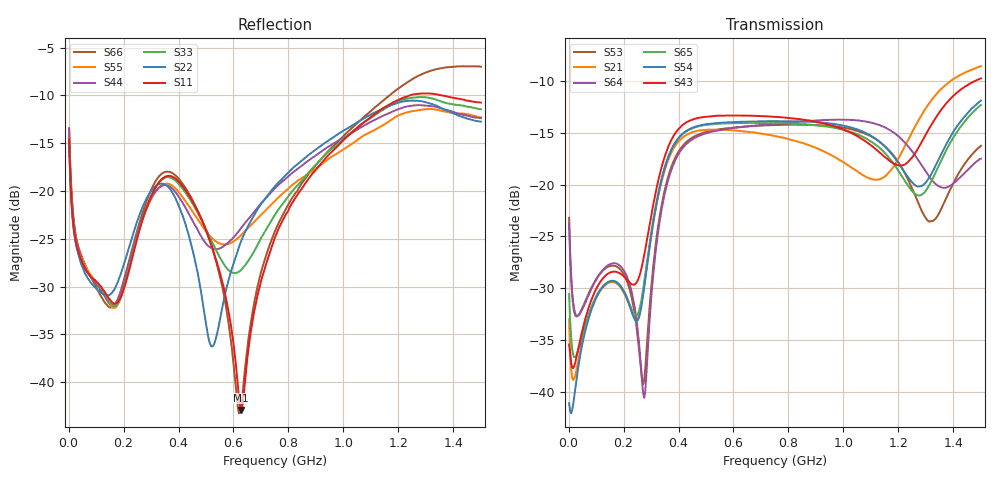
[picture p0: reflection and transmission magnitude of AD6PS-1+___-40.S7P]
! Mini-Circuits
! S7P DATA File Format
! Type: 6 Way 0 degree Power Splitter
! Model: AD6PS-1+
! PINOUT: SUMPORT=PORT7 , OUT1 PORT=PORT1 , OUT2 PORT=PORT2 , OUT3 PORT=PORT3 , OUT4 PORT=PORT4 , OUT5 PORT=PORT5 , OUT6 PORT=PORT6
! TEST CONDITIONS: INPUT POWER = 0 dBm @ Temperature = - 40 deg C
! 401 Frequency points
! All S Parameters are in dB deg format
# MHz S DB R 50
! FREQ  MAG(S11)PHS(S11)MAG(S12)PHS(S12)MAG(S13)PHS(S13)MAG(S14)PHS(S14)MAG(S15)PHS(S15)MAG(S16)PHS(S16)MAG(S17)PHS(S17)
!	MAG(S21)PHS(S21)MAG(S22)PHS(S22)MAG(S23)PHS(S23)MAG(S24)PHS(S24)MAG(S25)PHS(S25)MAG(S26)PHS(S26)MAG(S27)PHS(S27)
!	MAG(S31)PHS(S31)MAG(S32)PHS(S32)MAG(S33)PHS(S33)MAG(S34)PHS(S34)MAG(S35)PHS(S35)MAG(S36)PHS(S36)MAG(S37)PHS(S37)
!	MAG(S41)PHS(S41)MAG(S42)PHS(S42)MAG(S43)PHS(S43)MAG(S44)PHS(S44)MAG(S45)PHS(S45)MAG(S46)PHS(S46)MAG(S47)PHS(S47)
!	MAG(S51)PHS(S51)MAG(S52)PHS(S52)MAG(S53)PHS(S53)MAG(S54)PHS(S54)MAG(S55)PHS(S55)MAG(S56)PHS(S56)MAG(S57)PHS(S57)
!	MAG(S61)PHS(S61)MAG(S62)PHS(S62)MAG(S63)PHS(S63)MAG(S64)PHS(S64)MAG(S65)PHS(S65)MAG(S66)PHS(S66)MAG(S67)PHS(S67)
!	MAG(S71)PHS(S71)MAG(S72)PHS(S72)MAG(S73)PHS(S73)MAG(S74)PHS(S74)MAG(S75)PHS(S75)MAG(S76)PHS(S76)MAG(S77)PHS(S77)
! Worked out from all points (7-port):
!   401 points, 2 MHz to 1.5 GHz, reference 50 ohm
!   strongest paths, dB at 2 MHz, 376.5 MHz, 751 MHz, 1.125 GHz, 1.5 GHz:
!     S43: -35.4, -15.6, -13.5, -16.8, -9.8
!     S54: -41.1, -16.5, -13.9, -15.8, -11.9
!     S65: -30.6, -16.5, -14.1, -16.3, -12.3
!     S64: -23.8, -18.4, -14.1, -14.2, -17.5
!     S21: -33.0, -16.8, -15.3, -19.5, -8.6
!     S53: -23.2, -18.1, -14.3, -15.8, -16.3
!   lowest |S11| = -42.9 dB at 627.4 MHz (marker M1), VSWR 1.01, Z = 49.8 - j0.68 ohm
!   |S11| at or under -10 dB: start of sweep to 1.242 GHz; 1.358 GHz to end of sweep
